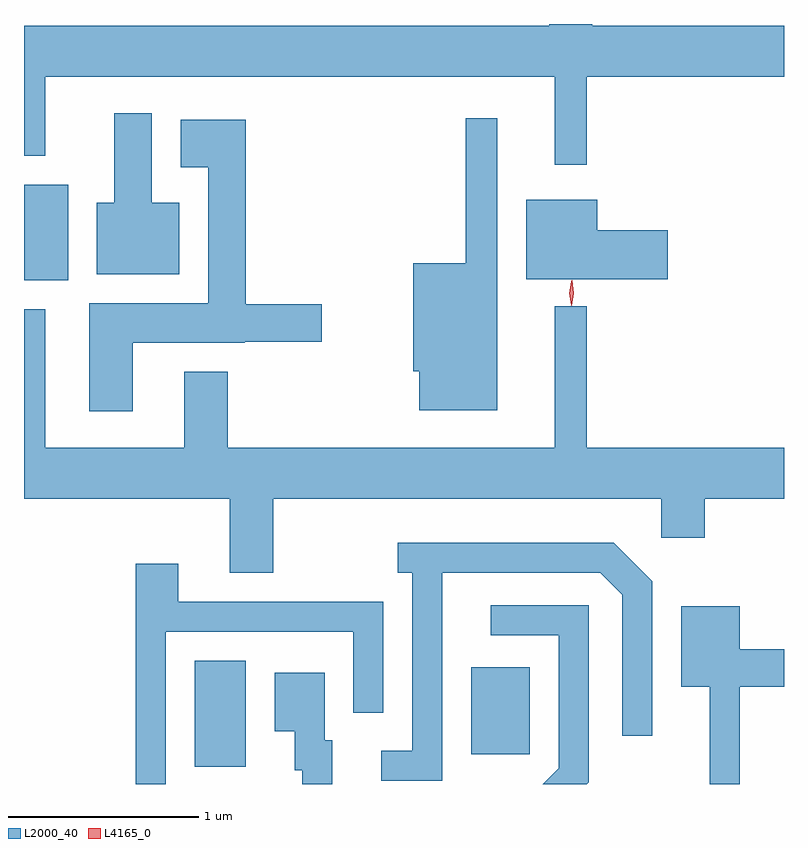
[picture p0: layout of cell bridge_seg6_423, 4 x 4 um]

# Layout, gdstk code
import gdstk
lib = gdstk.Library(unit=1e-6, precision=1e-09)
def R(c, l, rs):  # rectangles x0, y0, x1, y1
    for r in rs: c.add(gdstk.rectangle(r[:2], r[2:], *l))
def P(c, l, *ps):  # polygons
    for p in ps: c.add(gdstk.Polygon(p, *l))
L2000_40 = (2000, 40)
L4165_0 = (4165, 0)

bridge_seg6_423 = lib.new_cell('bridge_seg6_423')
R(bridge_seg6_423, L2000_40, [(828.316,1615.226,828.584,1615.784), (829.771,1615.291,830.079,1615.749), (827.417,1617.786,827.649,1618.289)])
P(bridge_seg6_423, L2000_40, [(830.379,1618.856),(831.417,1618.856),(831.417,1619.124),(830.409,1619.124),(830.409,1619.134),(830.181,1619.134),(830.181,1619.124),(827.417,1619.124),(827.417,1618.441),(827.529,1618.441),(827.529,1618.856),(830.211,1618.856),(830.211,1618.393),(830.379,1618.393)],
  [(828.234,1618.194),(828.089,1618.194),(828.089,1618.664),(827.891,1618.664),(827.891,1618.194),(827.801,1618.194),(827.801,1617.816),(828.234,1617.816)],
  [(829.909,1618.638),(829.741,1618.638),(829.741,1617.874),(829.466,1617.874),(829.466,1617.306),(829.496,1617.306),(829.496,1617.101),(829.909,1617.101)],
  [(827.989,1617.456),(828.58,1617.456),(828.58,1617.461),(828.984,1617.461),(828.984,1617.659),(828.584,1617.659),(828.584,1618.629),(828.241,1618.629),(828.241,1618.381),(828.386,1618.381),(828.386,1617.664),(827.761,1617.664),(827.761,1617.096),(827.989,1617.096)],
  [(830.804,1618.049),(830.434,1618.049),(830.434,1618.209),(830.061,1618.209),(830.061,1617.791),(830.804,1617.791)],
  [(828.729,1616.636),(830.771,1616.636),(830.771,1616.431),(830.999,1616.431),(830.999,1616.636),(831.417,1616.636),(831.417,1616.904),(830.379,1616.904),(830.379,1617.648),(830.211,1617.648),(830.211,1616.904),(828.489,1616.904),(828.489,1617.304),(828.261,1617.304),(828.261,1616.904),(827.529,1616.904),(827.529,1617.634),(827.417,1617.634),(827.417,1616.636),(828.501,1616.636),(828.501,1616.246),(828.729,1616.246)],
  [(829.619,1616.246),(830.449,1616.246),(830.566,1616.129),(830.566,1615.388),(830.724,1615.388),(830.724,1616.202),(830.522,1616.404),(829.383,1616.404),(829.383,1616.246),(829.461,1616.246),(829.461,1615.309),(829.298,1615.309),(829.298,1615.151),(829.619,1615.151)],
  [(828.164,1615.936),(829.151,1615.936),(829.151,1615.508),(829.309,1615.508),(829.309,1616.094),(828.229,1616.094),(828.229,1616.294),(828.006,1616.294),(828.006,1615.134),(828.164,1615.134)],
  [(830.389,1615.144),(830.389,1616.074),(829.873,1616.074),(829.873,1615.916),(830.231,1615.916),(830.231,1615.217),(830.148,1615.134),(830.379,1615.134)],
  [(831.184,1615.646),(831.417,1615.646),(831.417,1615.844),(831.184,1615.844),(831.184,1616.069),(830.876,1616.069),(830.876,1615.646),(831.026,1615.646),(831.026,1615.134),(831.184,1615.134)],
  [(829.039,1615.364),(828.999,1615.364),(828.999,1615.719),(828.736,1615.719),(828.736,1615.411),(828.841,1615.411),(828.841,1615.206),(828.881,1615.206),(828.881,1615.134),(829.039,1615.134)])
P(bridge_seg6_423, L4165_0, [(830.3,1617.65),(830.3,1617.65),(830.291,1617.718),(830.301,1617.785),(830.302,1617.786),(830.302,1617.785),(830.311,1617.718),(830.301,1617.65)],
  [(830.298,1617.653),(830.297,1617.654),(830.288,1617.716),(830.297,1617.78),(830.298,1617.78),(830.298,1617.78),(830.308,1617.716),(830.298,1617.654)])

lib.write_gds('bridge_seg6_423.gds')
